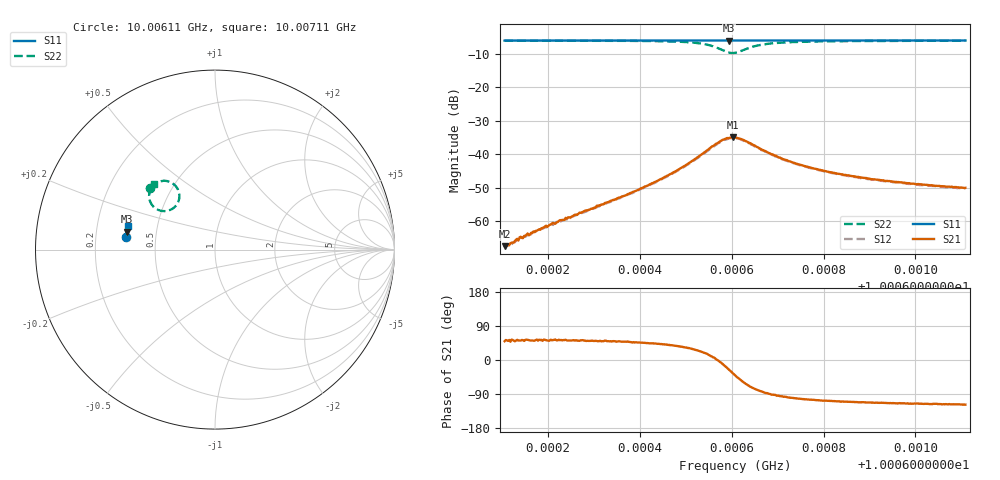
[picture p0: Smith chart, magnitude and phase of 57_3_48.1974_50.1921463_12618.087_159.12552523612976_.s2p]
#  HZ  S  RI  R  50.00
! Rohde & Schwarz Vector Network Analyzer
! Rohde-Schwarz,ZNB20-2Port,1311601062101988,3.16
! Created: UTC 3/20/2024, 11:38:37 AM
! freq[Hz]  re:S11  im:S11  re:S21  im:S21  re:S12  im:S12  re:S22  im:S22
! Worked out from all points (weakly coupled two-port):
!   401 points, 10.00611 GHz to 10.00711 GHz, reference 50 ohm
!   highest |S21| = -34.90 dB at 10.0066 GHz (marker M1); lowest = -67.4 dB at 10.00611 GHz (marker M2)
!   lowest |S11| = -6.0 dB at 10.00659 GHz (marker M3), VSWR 3.01, Z = 16.8 + j4.5 ohm
!   |S11| at or under -10 dB: nowhere
!   |S22| runs from -9.7 to -6.0 dB; largest |S21 - S12| = 0.0013
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1.0006105e10  -0.497 0.0691  0.000276 0.000324  0.000257 0.000351  -0.3607 0.3449
1.000612e10  -0.4968 0.0703  0.000285 0.000387  0.000252 0.000364  -0.3597 0.346
1.0006143e10  -0.4967 0.0716  0.000338 0.00045  0.000325 0.000477  -0.3581 0.3477
1.0006165e10  -0.4964 0.0731  0.000417 0.000525  0.00039 0.000551  -0.3563 0.3493
1.0006181e10  -0.4964 0.0742  0.000451 0.000611  0.000431 0.000624  -0.3552 0.3507
1.0006193e10  -0.4962 0.075  0.000502 0.000669  0.000469 0.000659  -0.354 0.3517
1.0006273e10  -0.4956 0.0802  0.000834 0.00107  0.000785 0.00108  -0.3465 0.3587
1.0006371e10  -0.4946 0.0866  0.00166 0.00185  0.00157 0.00189  -0.3325 0.3689
1.0006441e10  -0.4939 0.0913  0.00305 0.00282  0.00288 0.00286  -0.3141 0.3779
1.0006494e10  -0.4931 0.0948  0.00541 0.00367  0.00509 0.00384  -0.2876 0.3833
1.0006542e10  -0.4922 0.0979  0.0103 0.00338  0.00988 0.00374  -0.2397 0.3712
1.0006577e10  -0.4911 0.0996  0.0158 -0.00201  0.0154 -0.00117  -0.1992 0.3097
1.0006594e10  -0.4905 0.1004  0.0158 -0.00777  0.0159 -0.00687  -0.2097 0.2564
1.0006602e10  -0.4907 0.1005  0.0148 -0.0102  0.0149 -0.00906  -0.2257 0.2364
1.0006607e10  -0.4907 0.1005  0.0137 -0.0116  0.0138 -0.0105  -0.2391 0.2265
1.0006627e10  -0.4909 0.1015  0.00806 -0.014  0.00866 -0.0133  -0.2963 0.2153
1.0006665e10  -0.4914 0.104  0.00146 -0.0117  0.00188 -0.0114  -0.3538 0.2528
1.0006715e10  -0.4911 0.1073  -0.00101 -0.00832  -0.000611 -0.00819  -0.3671 0.2943
1.0006775e10  -0.4903 0.1115  -0.00162 -0.00601  -0.00131 -0.00599  -0.3646 0.3202
1.0006858e10  -0.4893 0.1168  -0.00169 -0.00447  -0.00143 -0.0045  -0.3576 0.3388
1.0006943e10  -0.4882 0.1224  -0.00162 -0.00366  -0.00139 -0.00366  -0.3511 0.3506
1.0007109e10  -0.4859 0.1329  -0.00147 -0.0028  -0.00131 -0.00279  -0.3399 0.3653
